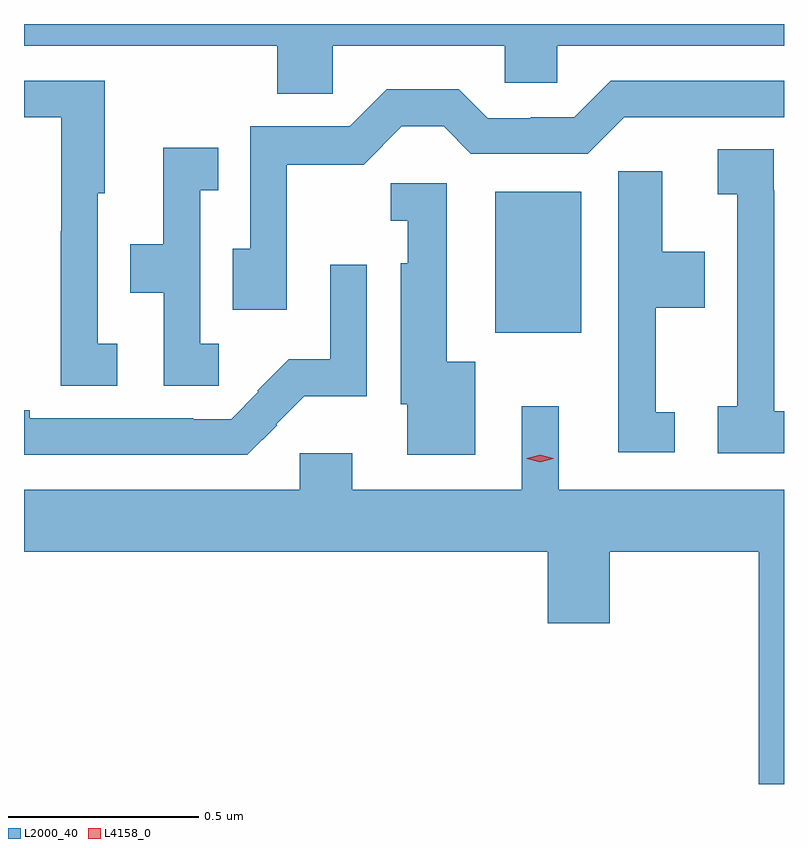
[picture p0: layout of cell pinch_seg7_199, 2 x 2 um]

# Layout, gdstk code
import gdstk
lib = gdstk.Library(unit=1e-6, precision=1e-09)
def R(c, l, rs):  # rectangles x0, y0, x1, y1
    for r in rs: c.add(gdstk.rectangle(r[:2], r[2:], *l))
def P(c, l, *ps):  # polygons
    for p in ps: c.add(gdstk.Polygon(p, *l))
L2000_40 = (2000, 40)
L4158_0 = (4158, 0)

pinch_seg7_199 = lib.new_cell('pinch_seg7_199')
R(pinch_seg7_199, L2000_40, [(1099.934,1035.824,1100.161,1036.195)])
P(pinch_seg7_199, L2000_40, [(1099.506,1036.58),(1099.959,1036.58),(1099.959,1036.482),(1100.097,1036.482),(1100.097,1036.58),(1100.694,1036.58),(1100.694,1036.637),(1098.694,1036.637),(1098.694,1036.58),(1099.36,1036.58),(1099.36,1036.453),(1099.506,1036.453)],
  [(1099.386,1036.267),(1099.588,1036.267),(1099.688,1036.368),(1099.798,1036.368),(1099.869,1036.296),(1100.178,1036.296),(1100.273,1036.391),(1100.377,1036.391),(1100.377,1036.392),(1100.694,1036.392),(1100.694,1036.488),(1100.238,1036.488),(1100.142,1036.392),(1100.027,1036.392),(1100.027,1036.389),(1099.914,1036.389),(1099.838,1036.465),(1099.648,1036.465),(1099.551,1036.368),(1099.29,1036.368),(1099.29,1036.046),(1099.243,1036.046),(1099.243,1035.885),(1099.386,1035.885)],
  [(1098.94,1035.796),(1098.888,1035.796),(1098.888,1036.191),(1098.907,1036.191),(1098.907,1036.488),(1098.694,1036.488),(1098.694,1036.392),(1098.792,1036.392),(1098.792,1036.091),(1098.791,1036.091),(1098.791,1035.685),(1098.94,1035.685)],
  [(1099.207,1035.796),(1099.158,1035.796),(1099.158,1036.199),(1099.205,1036.199),(1099.205,1036.312),(1099.061,1036.312),(1099.061,1036.058),(1098.973,1036.058),(1098.973,1035.93),(1099.062,1035.93),(1099.062,1035.685),(1099.207,1035.685)],
  [(1100.694,1035.618),(1100.668,1035.618),(1100.668,1036.199),(1100.667,1036.199),(1100.667,1036.307),(1100.52,1036.307),(1100.52,1036.189),(1100.571,1036.189),(1100.571,1035.631),(1100.52,1035.631),(1100.52,1035.507),(1100.694,1035.507)],
  [(1100.407,1035.615),(1100.357,1035.615),(1100.357,1035.89),(1100.486,1035.89),(1100.486,1036.038),(1100.374,1036.038),(1100.374,1036.249),(1100.258,1036.249),(1100.258,1035.51),(1100.407,1035.51)],
  [(1099.882,1035.748),(1099.807,1035.748),(1099.807,1036.218),(1099.659,1036.218),(1099.659,1036.119),(1099.704,1036.119),(1099.704,1036.008),(1099.685,1036.008),(1099.685,1035.636),(1099.703,1035.636),(1099.703,1035.503),(1099.882,1035.503)],
  [(1099.36,1035.581),(1099.358,1035.584),(1099.431,1035.657),(1099.596,1035.657),(1099.596,1036.003),(1099.5,1036.003),(1099.5,1035.755),(1099.391,1035.755),(1099.308,1035.672),(1099.311,1035.669),(1099.239,1035.597),(1099.139,1035.597),(1099.139,1035.6),(1098.709,1035.6),(1098.709,1035.62),(1098.694,1035.62),(1098.694,1035.504),(1099.282,1035.504)],
  [(1100.694,1035.412),(1100.101,1035.412),(1100.101,1035.631),(1100.004,1035.631),(1100.004,1035.412),(1099.558,1035.412),(1099.558,1035.507),(1099.419,1035.507),(1099.419,1035.412),(1098.694,1035.412),(1098.694,1035.248),(1100.072,1035.248),(1100.072,1035.06),(1100.236,1035.06),(1100.236,1035.248),(1100.627,1035.248),(1100.627,1034.637),(1100.694,1034.637)])
P(pinch_seg7_199, L4158_0, [(1100.052,1035.484),(1100.017,1035.493),(1100.017,1035.494),(1100.017,1035.494),(1100.052,1035.504),(1100.087,1035.494),(1100.087,1035.494),(1100.087,1035.493)])

lib.write_gds('pinch_seg7_199.gds')
